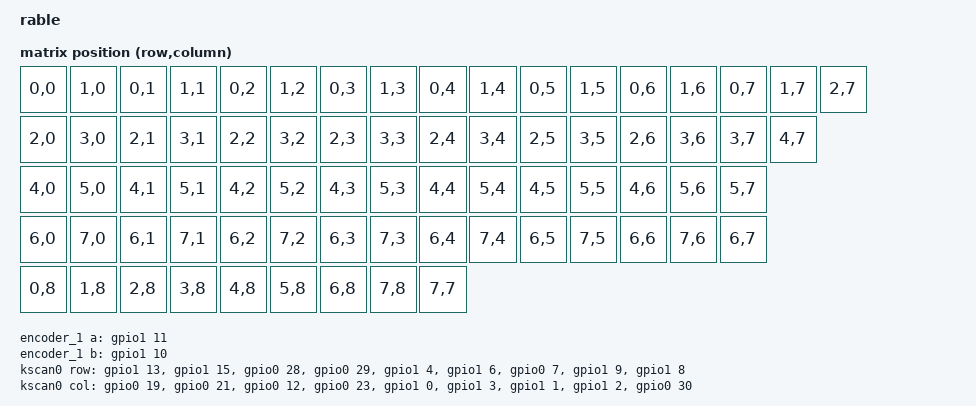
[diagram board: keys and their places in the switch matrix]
/*
 * Copyright (c) 2021 The ZMK Contributors
 *
 * SPDX-License-Identifier: MIT
 */

/dts-v1/;
#include <nordic/nrf52840_qiaa.dtsi>
#include <dt-bindings/zmk/matrix_transform.h>
#include <layouts/jaykeeb/rable_hotswap.dtsi>

&rable65_hotswap {
    transform = <&default_transform>;
};

/ {
    model = "rable";
    compatible = "rable";

    chosen {
        zephyr,code-partition = &code_partition;
        zephyr,sram = &sram0;
        zephyr,flash = &flash0;
		zephyr,console = &cdc_acm_uart;
        zmk,kscan = &kscan0;
		zmk,battery = &vbatt;
        zmk,physical-layout = &rable65_hotswap;
    };


    vbatt: vbatt {
		compatible = "zmk,battery-voltage-divider";
		label = "BATTERY";
		io-channels = <&adc 2>;
		output-ohms = <2000000>;
		full-ohms = <(2000000 + 806000)>;
	};

    // Encoder
    encoder_1: encoder_1 {
        compatible = "alps,ec11";
        label = "Encoder 1";
        a-gpios = <&gpio1 11 (GPIO_ACTIVE_LOW | GPIO_PULL_UP)>;
        b-gpios = <&gpio1 10 (GPIO_ACTIVE_LOW | GPIO_PULL_UP)>;
        resolution = <4>;
        status = "okay";
    };


    sensors {
        compatible = "zmk,keymap-sensors";
        sensors = <&encoder_1>;
    };

    kscan0: kscan_0 {
        compatible = "zmk,kscan-gpio-matrix";
        label = "KSCAN";
        wakeup-source;
        diode-direction = "col2row";

        row-gpios
            = <&gpio1 13 (GPIO_ACTIVE_HIGH | GPIO_PULL_DOWN)>
            , <&gpio1 15 (GPIO_ACTIVE_HIGH | GPIO_PULL_DOWN)>
            , <&gpio0 28 (GPIO_ACTIVE_HIGH | GPIO_PULL_DOWN)>
            , <&gpio0 29 (GPIO_ACTIVE_HIGH | GPIO_PULL_DOWN)>
            , <&gpio1 4  (GPIO_ACTIVE_HIGH | GPIO_PULL_DOWN)>
            , <&gpio1 6  (GPIO_ACTIVE_HIGH | GPIO_PULL_DOWN)>
            , <&gpio0 7  (GPIO_ACTIVE_HIGH | GPIO_PULL_DOWN)>  // r7
            , <&gpio1 9  (GPIO_ACTIVE_HIGH | GPIO_PULL_DOWN)>
            , <&gpio1 8  (GPIO_ACTIVE_HIGH | GPIO_PULL_DOWN)>
            ;

        col-gpios
            = <&gpio0 19 GPIO_ACTIVE_HIGH >
            , <&gpio0 21 GPIO_ACTIVE_HIGH >
            , <&gpio0 12 GPIO_ACTIVE_HIGH >
            , <&gpio0 23 GPIO_ACTIVE_HIGH >
            , <&gpio1 0  GPIO_ACTIVE_HIGH >
            , <&gpio1 3  GPIO_ACTIVE_HIGH >
            , <&gpio1 1  GPIO_ACTIVE_HIGH >
            , <&gpio1 2  GPIO_ACTIVE_HIGH >   // c8
            , <&gpio0 30 GPIO_ACTIVE_HIGH >
            ;
    };

    default_transform: keymap_transform_0 {
        compatible = "zmk,matrix-transform";
        columns = <9>;
        rows = <8>;

        map = <
			RC(0,0) RC(1,0) RC(0,1) RC(1,1) RC(0,2) RC(1,2) RC(0,3) RC(1,3) RC(0,4) RC(1,4) RC(0,5) RC(1,5) RC(0,6) RC(1,6) RC(0,7) RC(1,7) RC(2,7)
			RC(2,0) RC(3,0) RC(2,1) RC(3,1) RC(2,2) RC(3,2) RC(2,3) RC(3,3) RC(2,4) RC(3,4) RC(2,5) RC(3,5) RC(2,6) RC(3,6) RC(3,7) RC(4,7)
            RC(4,0) RC(5,0) RC(4,1) RC(5,1) RC(4,2) RC(5,2) RC(4,3) RC(5,3) RC(4,4) RC(5,4) RC(4,5) RC(5,5) RC(4,6) RC(5,6) RC(5,7)
			RC(6,0) RC(7,0) RC(6,1) RC(7,1) RC(6,2) RC(7,2) RC(6,3) RC(7,3) RC(6,4) RC(7,4) RC(6,5) RC(7,5) RC(6,6) RC(7,6) RC(6,7)
            RC(0,8) RC(1,8) RC(2,8) RC(3,8) RC(4,8) RC(5,8) RC(6,8) RC(7,8) RC(7,7)
        >;
    };

    behaviors {
        hw_soft_off: hw_soft_off {
            compatible = "zmk,behavior-soft-off";
            #binding-cells = <0>;
            split-peripheral-off-on-press; // Turn peripheral off immediately for reliability
            hold-time-ms = <2000>; // Only turn off if the key is held for 2 seconds or longer.
        };
    };

    keys {
        compatible = "gpio-keys";
        soft_off_gpio_key: soft_off_gpio_key {
            gpios = <&gpio1 8 (GPIO_ACTIVE_LOW | GPIO_PULL_UP)>;
        };
    };

    wakeup_scan: wakeup_scan {
        compatible = "zmk,gpio-key-wakeup-trigger";
        trigger = <&soft_off_gpio_key>;
        wakeup-source;
        extra-gpios = <&gpio0 7 GPIO_ACTIVE_HIGH >,
                      <&gpio1 2 GPIO_ACTIVE_HIGH >,
                      <&gpio1 8 GPIO_ACTIVE_HIGH >;
    };

    soft_off_wakers {
        compatible = "zmk,soft-off-wakeup-sources";
        wakeup-sources = <&wakeup_scan>;
    };
};

&adc {
    status = "okay";
};

&gpiote {
    status = "okay";
};

&gpio0 {
    status = "okay";
};

&gpio1 {
    status = "okay";
};

&usbd {
    status = "okay";
};


&flash0 {
    /*
     * For more information, see:
     * http://docs.zephyrproject.org/latest/devices/dts/flash_partitions.html
     */
    partitions {
        compatible = "fixed-partitions";
        #address-cells = <1>;
        #size-cells = <1>;

        sd_partition: partition@0 {
            label = "mbr";
            reg = <0x00000000 0x00001000>;
        };
        code_partition: partition@1000 {
            label = "code_partition";
            reg = <0x00001000 0x000d3000>;
        };

        storage_partition: partition@d4000 {
            label = "storage";
            reg = <0x000d4000 0x00020000>;
        };

        boot_partition: partition@f4000 {
            label = "adafruit_boot";
            reg = <0x000f4000 0x0000c000>;
        };
    };
};


&usbd {
	status = "okay";
	cdc_acm_uart: cdc_acm_uart {
		compatible = "zephyr,cdc-acm-uart";
		label = "CDC_ACM_0";
	};
};

zephyr_udc0: &usbd {
    status = "okay";
};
